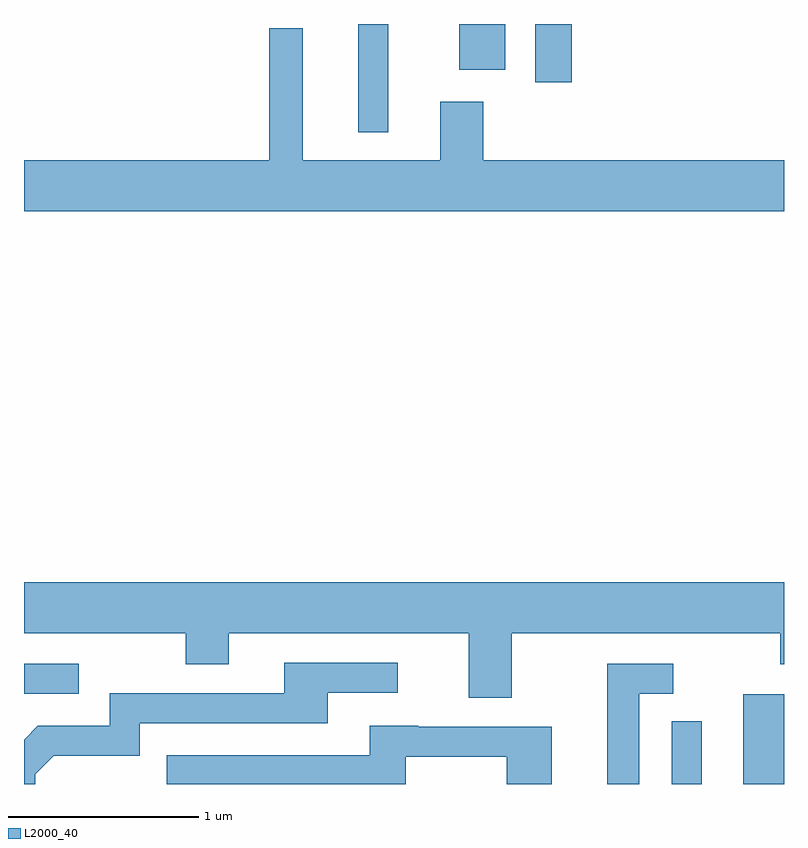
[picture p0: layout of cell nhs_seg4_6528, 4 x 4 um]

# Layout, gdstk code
import gdstk
lib = gdstk.Library(unit=1e-6, precision=1e-09)
def R(c, l, rs):  # rectangles x0, y0, x1, y1
    for r in rs: c.add(gdstk.rectangle(r[:2], r[2:], *l))
def P(c, l, *ps):  # polygons
    for p in ps: c.add(gdstk.Polygon(p, *l))
L2000_40 = (2000, 40)

nhs_seg4_6528 = lib.new_cell('nhs_seg4_6528')
R(nhs_seg4_6528, L2000_40, [(381.021,1253.982,381.179,1254.313), (381.396,1253.982,381.611,1254.454), (377.611,1254.456,377.898,1254.614), (379.371,1257.413,379.529,1257.982), (380.301,1257.676,380.494,1257.982), (379.901,1257.741,380.144,1257.982)])
P(nhs_seg4_6528, L2000_40, [(381.611,1257.264),(380.029,1257.264),(380.029,1257.574),(379.801,1257.574),(379.801,1257.264),(379.079,1257.264),(379.079,1257.959),(378.901,1257.959),(378.901,1257.264),(377.611,1257.264),(377.611,1256.996),(381.611,1256.996)],
  [(380.179,1254.776),(381.591,1254.776),(381.591,1254.611),(381.611,1254.611),(381.611,1255.044),(377.611,1255.044),(377.611,1254.776),(378.461,1254.776),(378.461,1254.611),(378.689,1254.611),(378.689,1254.776),(379.951,1254.776),(379.951,1254.436),(380.179,1254.436)],
  [(377.669,1254.034),(377.767,1254.131),(378.219,1254.131),(378.219,1254.301),(379.209,1254.301),(379.209,1254.461),(379.578,1254.461),(379.578,1254.619),(378.981,1254.619),(378.981,1254.459),(378.061,1254.459),(378.061,1254.289),(377.684,1254.289),(377.611,1254.216),(377.611,1253.982),(377.669,1253.982)],
  [(380.849,1254.456),(381.028,1254.456),(381.028,1254.614),(380.681,1254.614),(380.681,1253.982),(380.849,1253.982)],
  [(379.619,1254.126),(380.151,1254.126),(380.151,1253.982),(380.389,1253.982),(380.389,1254.284),(379.685,1254.284),(379.685,1254.289),(379.431,1254.289),(379.431,1254.134),(378.363,1254.134),(378.363,1253.982),(379.619,1253.982)])

lib.write_gds('nhs_seg4_6528.gds')
